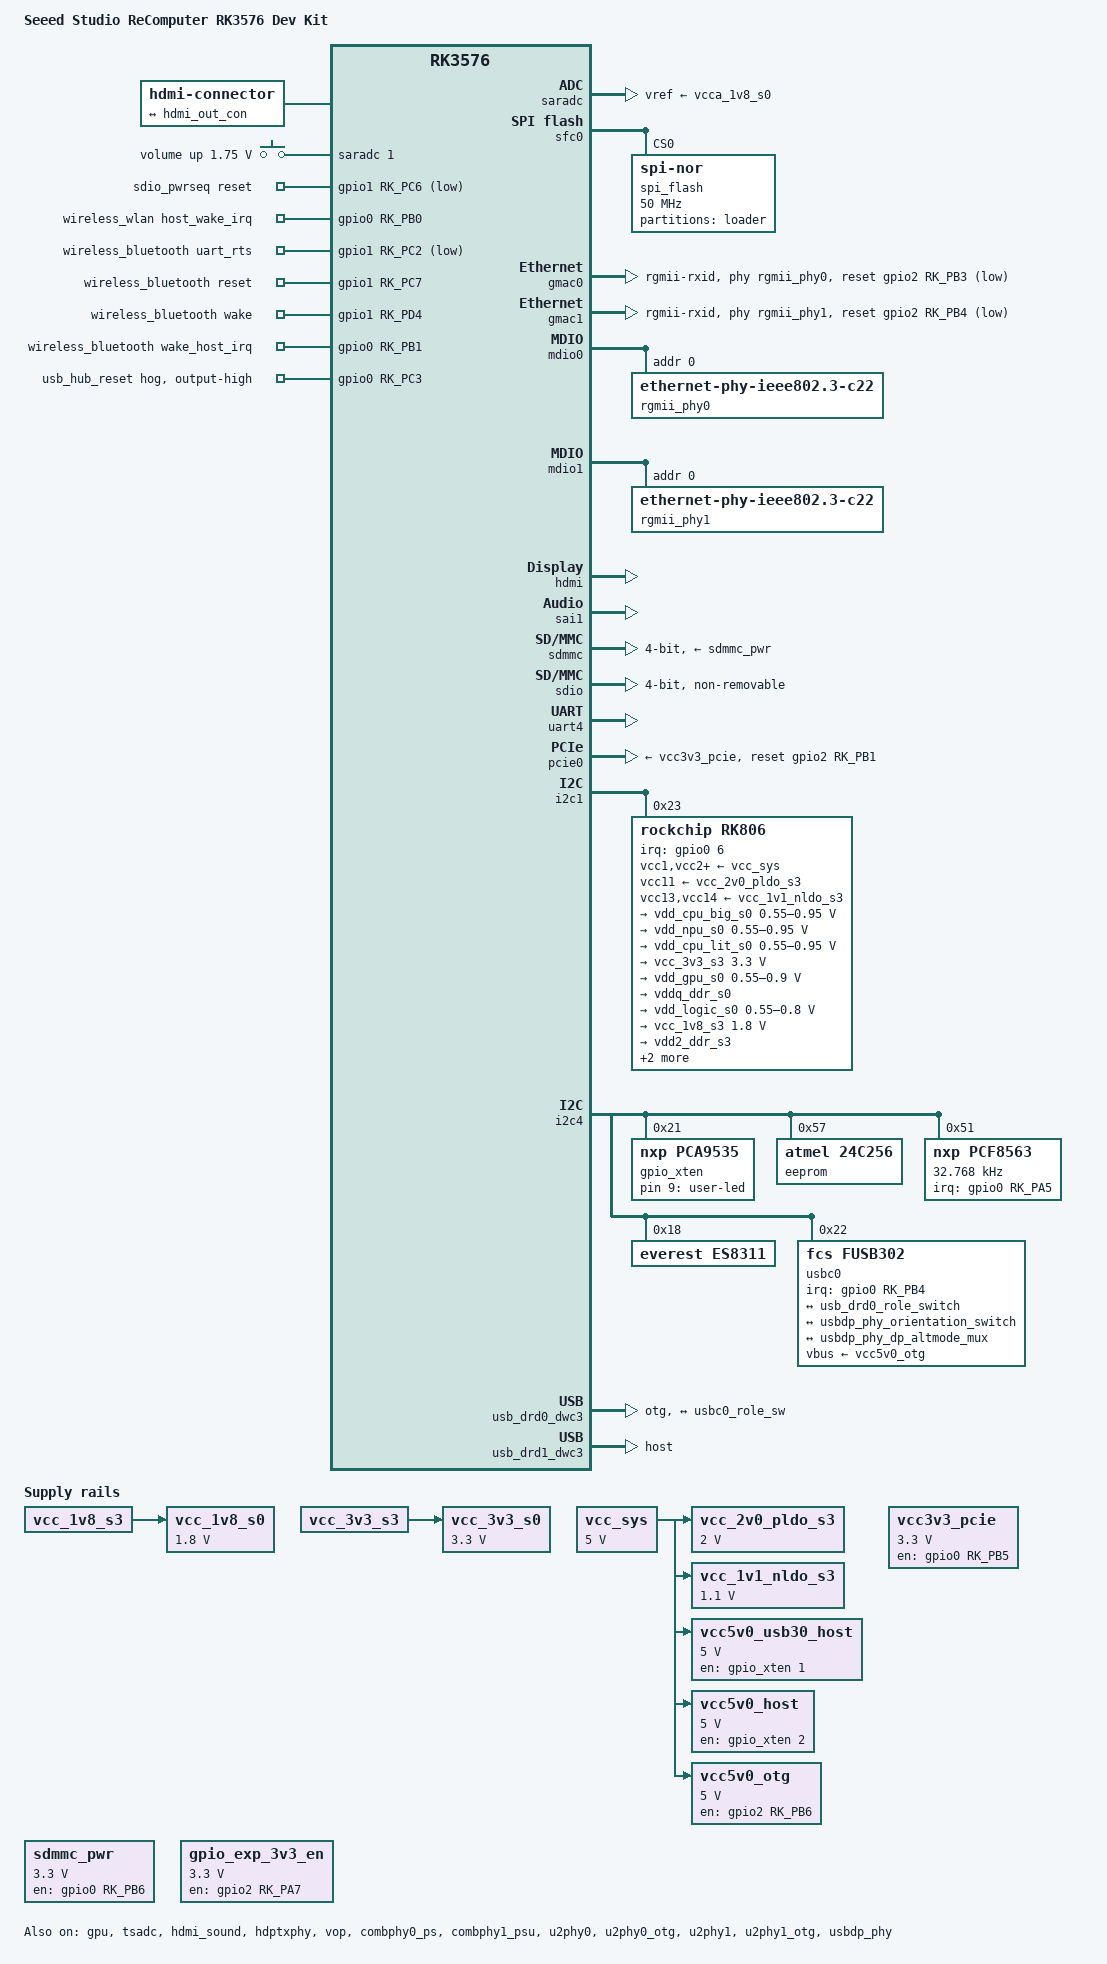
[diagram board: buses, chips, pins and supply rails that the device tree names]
// SPDX-License-Identifier: (GPL-2.0+ OR MIT)
/*
 * Copyright (c) 2026
 *
 * Ported from the 6.1 BSP device tree for the Seeed Studio ReComputer
 * RK3576 Dev Kit onto the 6.18 upstream-style rk3576.dtsi.
 *
 * BSP-only blocks without matching 6.18 nodes are intentionally omitted:
 * - camera media graph endpoints
 * - PWM fan control (this tree exposes the pinmux but not the PWM controller)
 * - BSP-only DP audio/video routing nodes
 */

/dts-v1/;

#include <dt-bindings/gpio/gpio.h>
#include <dt-bindings/input/input.h>
#include <dt-bindings/pinctrl/rockchip.h>
#include <dt-bindings/soc/rockchip,vop2.h>
#include <dt-bindings/usb/pd.h>
#include "rk3576.dtsi"
#include "recomputer-rk3576-devkit-cam.dtsi"

/ {
	model = "Seeed Studio ReComputer RK3576 Dev Kit";
	compatible = "seeed,recomputer-rk3576-devkit", "rockchip,rk3576";

	aliases {
		ethernet0 = &gmac0;
		ethernet1 = &gmac1;
		mmc0 = &sdhci;
		mmc1 = &sdmmc;
		mmc2 = &sdio;
	};

	chosen {
		stdout-path = "serial0:1500000n8";
	};

	hdmi-con {
		compatible = "hdmi-connector";
		type = "a";

		port {
			hdmi_con_in: endpoint {
				remote-endpoint = <&hdmi_out_con>;
			};
		};
	};

	adc-keys {
		compatible = "adc-keys";
		io-channels = <&saradc 1>;
		io-channel-names = "buttons";
		keyup-threshold-microvolt = <1800000>;
		poll-interval = <100>;
		status = "okay";

		volumeup-key {
			linux,code = <KEY_VOLUMEUP>;
			label = "volume up";
			press-threshold-microvolt = <1750000>;
		};
	};

	vcc_sys: regulator-vcc5v0-sys {
		compatible = "regulator-fixed";
		regulator-name = "vcc_sys";
		regulator-always-on;
		regulator-boot-on;
		regulator-min-microvolt = <5000000>;
		regulator-max-microvolt = <5000000>;
	};

	vcc_2v0_pldo_s3: regulator-vcc-2v0-pldo-s3 {
		compatible = "regulator-fixed";
		regulator-name = "vcc_2v0_pldo_s3";
		regulator-boot-on;
		regulator-always-on;
		regulator-min-microvolt = <2000000>;
		regulator-max-microvolt = <2000000>;
		vin-supply = <&vcc_sys>;
	};

	vcc_1v1_nldo_s3: regulator-vcc-1v1-nldo-s3 {
		compatible = "regulator-fixed";
		regulator-name = "vcc_1v1_nldo_s3";
		regulator-boot-on;
		regulator-always-on;
		regulator-min-microvolt = <1100000>;
		regulator-max-microvolt = <1100000>;
		vin-supply = <&vcc_sys>;
	};

	vcc_1v8_s0: regulator-vcc-1v8-s0 {
		compatible = "regulator-fixed";
		regulator-name = "vcc_1v8_s0";
		regulator-boot-on;
		regulator-always-on;
		regulator-min-microvolt = <1800000>;
		regulator-max-microvolt = <1800000>;
		vin-supply = <&vcc_1v8_s3>;
	};

	vcc_3v3_s0: regulator-vcc-3v3-s0 {
		compatible = "regulator-fixed";
		regulator-name = "vcc_3v3_s0";
		regulator-boot-on;
		regulator-always-on;
		regulator-min-microvolt = <3300000>;
		regulator-max-microvolt = <3300000>;
		vin-supply = <&vcc_3v3_s3>;
	};

	vcc5v0_usb30_host: regulator-vcc5v0-usb30-host {
		compatible = "regulator-fixed";
		regulator-name = "vcc5v0_usb30_host";
		regulator-boot-on;
		regulator-always-on;
		regulator-min-microvolt = <5000000>;
		regulator-max-microvolt = <5000000>;
		enable-active-high;
		gpio = <&gpio_xten 1 GPIO_ACTIVE_HIGH>;
		vin-supply = <&vcc_sys>;
	};

	vcc5v0_host: regulator-vcc5v0-host {
		compatible = "regulator-fixed";
		regulator-name = "vcc5v0_host";
		regulator-boot-on;
		regulator-always-on;
		regulator-min-microvolt = <5000000>;
		regulator-max-microvolt = <5000000>;
		enable-active-high;
		gpio = <&gpio_xten 2 GPIO_ACTIVE_HIGH>;
		vin-supply = <&vcc_sys>;
	};

	vcc5v0_otg: regulator-vcc5v0-otg {
		compatible = "regulator-fixed";
		regulator-name = "vcc5v0_otg";
		regulator-min-microvolt = <5000000>;
		regulator-max-microvolt = <5000000>;
		enable-active-high;
		gpio = <&gpio2 RK_PB6 GPIO_ACTIVE_HIGH>;
		vin-supply = <&vcc_sys>;
		pinctrl-names = "default";
		pinctrl-0 = <&vcc5v0_otg_en>;
	};

	vcc3v3_pcie: regulator-vcc3v3-pcie {
		compatible = "regulator-fixed";
		regulator-name = "vcc3v3_pcie";
		regulator-min-microvolt = <3300000>;
		regulator-max-microvolt = <3300000>;
		enable-active-high;
		regulator-boot-on;
		regulator-always-on;
		gpios = <&gpio0 RK_PB5 GPIO_ACTIVE_HIGH>;
		startup-delay-us = <5000>;
		pinctrl-names = "default";
		pinctrl-0 = <&pcie_pwr_en>;
	};

	sdmmc_pwr: regulator-sdmmc-pwr {
		compatible = "regulator-fixed";
		regulator-name = "sdmmc_pwr";
		regulator-min-microvolt = <3300000>;
		regulator-max-microvolt = <3300000>;
		enable-active-high;
		regulator-boot-on;
		regulator-always-on;
		gpios = <&gpio0 RK_PB6 GPIO_ACTIVE_HIGH>;
		pinctrl-names = "default";
		pinctrl-0 = <&sdmmc_pwr_en>;
	};

	gpio_exp_3v3_en: regulator-exp-3v3-en {
		compatible = "regulator-fixed";
		regulator-name = "exp_3v3_en";
		regulator-min-microvolt = <3300000>;
		regulator-max-microvolt = <3300000>;
		regulator-always-on;
		regulator-boot-on;
		enable-active-high;
		gpios = <&gpio2 RK_PA7 GPIO_ACTIVE_HIGH>;
		pinctrl-names = "default";
		pinctrl-0 = <&vsys_3v3_exp_en>;
	};

	sdio_pwrseq: sdio-pwrseq {
		compatible = "mmc-pwrseq-simple";
		pinctrl-names = "default";
		pinctrl-0 = <&wifi_poweren_gpio>;
		post-power-on-delay-ms = <200>;
		reset-gpios = <&gpio1 RK_PC6 GPIO_ACTIVE_LOW>;
	};

	wireless_wlan: wireless-wlan {
		compatible = "wlan-platdata";
		wifi_chip_type = "fcs960k";
		clocks = <&pcf8563>;
		clock-names = "ext_clock";
		pinctrl-names = "default";
		pinctrl-0 = <&wifi_host_wake_irq>;
		WIFI,host_wake_irq = <&gpio0 RK_PB0 GPIO_ACTIVE_HIGH>;
	};

	wireless_bluetooth: wireless-bluetooth {
		compatible = "bluetooth-platdata";
		uart_rts_gpios = <&gpio1 RK_PC2 GPIO_ACTIVE_LOW>;
		pinctrl-names = "default", "rts_gpio";
		pinctrl-0 = <&uart4m1_rtsn>;
		pinctrl-1 = <&uart4_gpios>;
		BT,reset_gpio = <&gpio1 RK_PC7 GPIO_ACTIVE_HIGH>;
		BT,wake_gpio = <&gpio1 RK_PD4 GPIO_ACTIVE_HIGH>;
		BT,wake_host_irq = <&gpio0 RK_PB1 GPIO_ACTIVE_HIGH>;
		status = "okay";
	};

	leds {
		compatible = "gpio-leds";

		user-led {
			gpios = <&gpio_xten 9 GPIO_ACTIVE_HIGH>;
			linux,default-trigger = "heartbeat";
		};
	};
};

&cpu_b0 {
	cpu-supply = <&vdd_cpu_big_s0>;
};

&cpu_b1 {
	cpu-supply = <&vdd_cpu_big_s0>;
};

&cpu_b2 {
	cpu-supply = <&vdd_cpu_big_s0>;
};

&cpu_b3 {
	cpu-supply = <&vdd_cpu_big_s0>;
};

&cpu_l0 {
	cpu-supply = <&vdd_cpu_lit_s0>;
};

&cpu_l1 {
	cpu-supply = <&vdd_cpu_lit_s0>;
};

&cpu_l2 {
	cpu-supply = <&vdd_cpu_lit_s0>;
};

&cpu_l3 {
	cpu-supply = <&vdd_cpu_lit_s0>;
};

&gpu {
	mali-supply = <&vdd_gpu_s0>;
	status = "okay";
};

&saradc {
	status = "okay";
	vref-supply = <&vcca_1v8_s0>;
};

&tsadc {
	status = "okay";
};

&sfc0 {
	status = "okay";
	#address-cells = <1>;
	#size-cells = <0>;

	spi_flash: flash@0 {
		compatible = "jedec,spi-nor";
		reg = <0x0>;
		spi-max-frequency = <50000000>;
		spi-tx-bus-width = <1>;
		spi-rx-bus-width = <4>;
		status = "okay";

		partitions {
			compatible = "fixed-partitions";
			#address-cells = <1>;
			#size-cells = <1>;

			loader@0 {
				label = "loader";
				reg = <0x0 0x1000000>;
			};
		};
	};
};

&gmac0 {
	clock_in_out = "output";
	phy-mode = "rgmii-rxid";
	phy-handle = <&rgmii_phy0>;
	pinctrl-names = "default";
	pinctrl-0 = <&eth0m0_miim
		     &eth0m0_tx_bus2
		     &eth0m0_rx_bus2
		     &eth0m0_rgmii_clk
		     &eth0m0_rgmii_bus>;
	snps,reset-gpio = <&gpio2 RK_PB3 GPIO_ACTIVE_LOW>;
	snps,reset-active-low;
	snps,reset-delays-us = <0 20000 100000>;
	tx_delay = <0x20>;
	status = "okay";
};

&gmac1 {
	clock_in_out = "output";
	phy-mode = "rgmii-rxid";
	phy-handle = <&rgmii_phy1>;
	pinctrl-names = "default";
	pinctrl-0 = <&eth1m0_miim
		     &eth1m0_tx_bus2
		     &eth1m0_rx_bus2
		     &eth1m0_rgmii_clk
		     &eth1m0_rgmii_bus>;
	snps,reset-gpio = <&gpio2 RK_PB4 GPIO_ACTIVE_LOW>;
	snps,reset-active-low;
	snps,reset-delays-us = <0 20000 100000>;
	tx_delay = <0x1a>;
	status = "okay";
};

&mdio0 {
	rgmii_phy0: ethernet-phy@0 {
		compatible = "ethernet-phy-ieee802.3-c22";
		reg = <0x0>;
		realtek,clkout-disable;
	};
};

&mdio1 {
	rgmii_phy1: ethernet-phy@0 {
		compatible = "ethernet-phy-ieee802.3-c22";
		reg = <0x0>;
		realtek,clkout-disable;
	};
};

&hdmi {
	status = "okay";
};

&hdmi_in {
	hdmi_in_vp0: endpoint {
		remote-endpoint = <&vp0_out_hdmi>;
	};
};

&hdmi_out {
	hdmi_out_con: endpoint {
		remote-endpoint = <&hdmi_con_in>;
	};
};

&hdmi_sound {
	status = "okay";
};

&hdptxphy {
	status = "okay";
};

&vop {
	status = "okay";
	vop-supply = <&vdd_logic_s0>;
};

&vop_mmu {
	status = "okay";
};

&vp0 {
	vp0_out_hdmi: endpoint@ROCKCHIP_VOP2_EP_HDMI0 {
		reg = <ROCKCHIP_VOP2_EP_HDMI0>;
		remote-endpoint = <&hdmi_in_vp0>;
	};
};

&display_subsystem {
	clocks = <&hdptxphy>;
	clock-names = "hdmi0_phy_pll";
};

&sai1 {
	status = "okay";
	rockchip,sai-rx-route = <0 1 2 3>;
	rockchip,sai-tx-route = <2 1 0 3>;
	pinctrl-names = "default";
	pinctrl-0 = <&sai1m0_lrck
		     &sai1m0_sclk
		     &sai1m0_sdi0
		     &sai1m0_sdo2>;
};

&sdhci {
	bus-width = <8>;
	no-sdio;
	no-sd;
	non-removable;
	max-frequency = <100000000>;
	mmc-hs400-1_8v;
	mmc-hs400-enhanced-strobe;
	status = "disabled";
};

&sdmmc {
	max-frequency = <100000000>;
	pinctrl-names = "default";
	pinctrl-0 = <&sdmmc0_clk &sdmmc0_cmd &sdmmc0_det &sdmmc0_bus4>;
	no-sdio;
	no-mmc;
	bus-width = <4>;
	cap-mmc-highspeed;
	cap-sd-highspeed;
	disable-wp;
	sd-uhs-sdr104;
	vqmmc-supply = <&vccio_sd_s0>;
	vmmc-supply = <&sdmmc_pwr>;
	status = "okay";
};

&sdio {
	max-frequency = <100000000>;
	no-sd;
	no-mmc;
	bus-width = <4>;
	disable-wp;
	cap-sd-highspeed;
	cap-sdio-irq;
	keep-power-in-suspend;
	mmc-pwrseq = <&sdio_pwrseq>;
	non-removable;
	pinctrl-names = "default";
	pinctrl-0 = <&sdmmc1m0_bus4 &sdmmc1m0_clk &sdmmc1m0_cmd>;
	sd-uhs-sdr50;
	sd-uhs-sdr104;
	status = "okay";
};

&uart4 {
	status = "okay";
	pinctrl-names = "default";
	pinctrl-0 = <&uart4m1_xfer &uart4m1_ctsn>;
};

&combphy0_ps {
	status = "okay";
};

&combphy1_psu {
	status = "okay";
};

&pcie0 {
	reset-gpios = <&gpio2 RK_PB1 GPIO_ACTIVE_HIGH>;
	rockchip,skip-scan-in-resume;
	vpcie3v3-supply = <&vcc3v3_pcie>;
	status = "okay";
};

&i2c1 {
	status = "okay";

	rk806: pmic@23 {
		compatible = "rockchip,rk806";
		reg = <0x23>;
		interrupt-parent = <&gpio0>;
		interrupts = <6 IRQ_TYPE_LEVEL_LOW>;
		gpio-controller;
		#gpio-cells = <2>;
		pinctrl-names = "default";
		pinctrl-0 = <&pmic_pins>, <&rk806_dvs1_null>,
			    <&rk806_dvs2_null>, <&rk806_dvs3_null>;
		system-power-controller;

		vcc1-supply = <&vcc_sys>;
		vcc2-supply = <&vcc_sys>;
		vcc3-supply = <&vcc_sys>;
		vcc4-supply = <&vcc_sys>;
		vcc5-supply = <&vcc_sys>;
		vcc6-supply = <&vcc_sys>;
		vcc7-supply = <&vcc_sys>;
		vcc8-supply = <&vcc_sys>;
		vcc9-supply = <&vcc_sys>;
		vcc10-supply = <&vcc_sys>;
		vcc11-supply = <&vcc_2v0_pldo_s3>;
		vcc12-supply = <&vcc_sys>;
		vcc13-supply = <&vcc_1v1_nldo_s3>;
		vcc14-supply = <&vcc_1v1_nldo_s3>;
		vcca-supply = <&vcc_sys>;

		rk806_dvs1_null: dvs1-null-pins {
			pins = "gpio_pwrctrl1";
			function = "pin_fun0";
		};

		rk806_dvs2_null: dvs2-null-pins {
			pins = "gpio_pwrctrl2";
			function = "pin_fun0";
		};

		rk806_dvs3_null: dvs3-null-pins {
			pins = "gpio_pwrctrl3";
			function = "pin_fun0";
		};

		rk806_dvs1_slp: dvs1-slp-pins {
			pins = "gpio_pwrctrl1";
			function = "pin_fun1";
		};

		rk806_dvs1_pwrdn: dvs1-pwrdn-pins {
			pins = "gpio_pwrctrl1";
			function = "pin_fun2";
		};

		rk806_dvs1_rst: dvs1-rst-pins {
			pins = "gpio_pwrctrl1";
			function = "pin_fun3";
		};

		rk806_dvs2_slp: dvs2-slp-pins {
			pins = "gpio_pwrctrl2";
			function = "pin_fun1";
		};

		rk806_dvs2_pwrdn: dvs2-pwrdn-pins {
			pins = "gpio_pwrctrl2";
			function = "pin_fun2";
		};

		rk806_dvs2_rst: dvs2-rst-pins {
			pins = "gpio_pwrctrl2";
			function = "pin_fun3";
		};

		rk806_dvs2_dvs: dvs2-dvs-pins {
			pins = "gpio_pwrctrl2";
			function = "pin_fun4";
		};

		rk806_dvs2_gpio: dvs2-gpio-pins {
			pins = "gpio_pwrctrl2";
			function = "pin_fun5";
		};

		rk806_dvs3_slp: dvs3-slp-pins {
			pins = "gpio_pwrctrl3";
			function = "pin_fun1";
		};

		rk806_dvs3_pwrdn: dvs3-pwrdn-pins {
			pins = "gpio_pwrctrl3";
			function = "pin_fun2";
		};

		rk806_dvs3_rst: dvs3-rst-pins {
			pins = "gpio_pwrctrl3";
			function = "pin_fun3";
		};

		rk806_dvs3_dvs: dvs3-dvs-pins {
			pins = "gpio_pwrctrl3";
			function = "pin_fun4";
		};

		rk806_dvs3_gpio: dvs3-gpio-pins {
			pins = "gpio_pwrctrl3";
			function = "pin_fun5";
		};

		regulators {
			vdd_cpu_big_s0: dcdc-reg1 {
				regulator-always-on;
				regulator-boot-on;
				regulator-min-microvolt = <550000>;
				regulator-max-microvolt = <950000>;
				regulator-ramp-delay = <12500>;
				regulator-name = "vdd_cpu_big_s0";
				regulator-enable-ramp-delay = <400>;

				regulator-state-mem {
					regulator-off-in-suspend;
				};
			};

			vdd_npu_s0: dcdc-reg2 {
				regulator-boot-on;
				regulator-min-microvolt = <550000>;
				regulator-max-microvolt = <950000>;
				regulator-ramp-delay = <12500>;
				regulator-name = "vdd_npu_s0";
				regulator-enable-ramp-delay = <400>;

				regulator-state-mem {
					regulator-off-in-suspend;
				};
			};

			vdd_cpu_lit_s0: dcdc-reg3 {
				regulator-always-on;
				regulator-boot-on;
				regulator-min-microvolt = <550000>;
				regulator-max-microvolt = <950000>;
				regulator-ramp-delay = <12500>;
				regulator-name = "vdd_cpu_lit_s0";

				regulator-state-mem {
					regulator-off-in-suspend;
					regulator-suspend-microvolt = <750000>;
				};
			};

			vcc_3v3_s3: dcdc-reg4 {
				regulator-always-on;
				regulator-boot-on;
				regulator-min-microvolt = <3300000>;
				regulator-max-microvolt = <3300000>;
				regulator-name = "vcc_3v3_s3";

				regulator-state-mem {
					regulator-on-in-suspend;
					regulator-suspend-microvolt = <3300000>;
				};
			};

			vdd_gpu_s0: dcdc-reg5 {
				regulator-boot-on;
				regulator-min-microvolt = <550000>;
				regulator-max-microvolt = <900000>;
				regulator-ramp-delay = <12500>;
				regulator-name = "vdd_gpu_s0";
				regulator-enable-ramp-delay = <400>;

				regulator-state-mem {
					regulator-off-in-suspend;
					regulator-suspend-microvolt = <850000>;
				};
			};

			vddq_ddr_s0: dcdc-reg6 {
				regulator-always-on;
				regulator-boot-on;
				regulator-name = "vddq_ddr_s0";

				regulator-state-mem {
					regulator-off-in-suspend;
				};
			};

			vdd_logic_s0: dcdc-reg7 {
				regulator-always-on;
				regulator-boot-on;
				regulator-min-microvolt = <550000>;
				regulator-max-microvolt = <800000>;
				regulator-name = "vdd_logic_s0";

				regulator-state-mem {
					regulator-off-in-suspend;
				};
			};

			vcc_1v8_s3: dcdc-reg8 {
				regulator-always-on;
				regulator-boot-on;
				regulator-min-microvolt = <1800000>;
				regulator-max-microvolt = <1800000>;
				regulator-name = "vcc_1v8_s3";

				regulator-state-mem {
					regulator-on-in-suspend;
					regulator-suspend-microvolt = <1800000>;
				};
			};

			vdd2_ddr_s3: dcdc-reg9 {
				regulator-always-on;
				regulator-boot-on;
				regulator-name = "vdd2_ddr_s3";

				regulator-state-mem {
					regulator-on-in-suspend;
				};
			};

			vdd_ddr_s0: dcdc-reg10 {
				regulator-always-on;
				regulator-boot-on;
				regulator-min-microvolt = <550000>;
				regulator-max-microvolt = <1200000>;
				regulator-name = "vdd_ddr_s0";

				regulator-state-mem {
					regulator-off-in-suspend;
				};
			};

			vcca_1v8_s0: pldo-reg1 {
				regulator-always-on;
				regulator-boot-on;
				regulator-min-microvolt = <1800000>;
				regulator-max-microvolt = <1800000>;
				regulator-name = "vcca_1v8_s0";

				regulator-state-mem {
					regulator-off-in-suspend;
				};
			};

			vccio_sd_s0: pldo-reg5 {
				regulator-always-on;
				regulator-boot-on;
				regulator-min-microvolt = <1800000>;
				regulator-max-microvolt = <3300000>;
				regulator-name = "vccio_sd_s0";

				regulator-state-mem {
					regulator-off-in-suspend;
				};
			};
		};
	};
};

&i2c4 {
	status = "okay";
	pinctrl-0 = <&i2c4m3_xfer>;

	gpio_xten: gpio@21 {
		compatible = "nxp,pca9535";
		reg = <0x21>;
		gpio-controller;
		#gpio-cells = <2>;
		gpio-line-names =
			"MIPI_DPHY_CSI0_IO1", "USB_USB30_PWREN_H",
			"USB_HOST_PWREN_H", "BRD_ID_WP",
			"LTE_RESET", "P05",
			"P06", "LoRaWan_sx1262_CS",
			"USER_LED_R", "USER_LED_B",
			"USER_LED_G", "P13",
			"P14", "P15",
			"P16", "P17";
	};

	eeprom: eeprom@57 {
		compatible = "atmel,24c256";
		reg = <0x57>;
		pagesize = <16>;
		status = "okay";
	};

	pcf8563: rtc@51 {
		compatible = "nxp,pcf8563";
		reg = <0x51>;
		interrupt-parent = <&gpio0>;
		interrupts = <RK_PA5 IRQ_TYPE_EDGE_FALLING>;
		pinctrl-names = "default";
		pinctrl-0 = <&pcf8563_int>;
		#clock-cells = <0>;
		clock-frequency = <32768>;
		clock-output-names = "xin32k";
		status = "okay";
	};

	es8311: audio-codec@18 {
		compatible = "everest,es8311";
		reg = <0x18>;
		#sound-dai-cells = <0>;
		clocks = <&cru CLK_SAI1_MCLKOUT_TO_IO>;
		clock-names = "mclk";
		assigned-clocks = <&cru CLK_SAI1_MCLKOUT_TO_IO>;
		assigned-clock-rates = <12288000>;
		pinctrl-names = "default";
		pinctrl-0 = <&sai1m0_mclk>;
		status = "okay";
	};

	usbc0: fusb302@22 {
		compatible = "fcs,fusb302";
		reg = <0x22>;
		interrupt-parent = <&gpio0>;
		interrupts = <RK_PB4 IRQ_TYPE_LEVEL_LOW>;
		pinctrl-names = "default";
		pinctrl-0 = <&aw35615_int>;
		vbus-supply = <&vcc5v0_otg>;
		status = "okay";

		ports {
			port {
				usbc0_role_sw: endpoint {
					remote-endpoint = <&usb_drd0_role_switch>;
				};
			};
		};

		usb_con: connector {
			compatible = "usb-c-connector";
			label = "USB-C";
			data-role = "dual";
			power-role = "dual";
			try-power-role = "sink";
			op-sink-microwatt = <1000000>;
			sink-pdos = <PDO_FIXED(5000, 1000, PDO_FIXED_USB_COMM)>;
			source-pdos = <PDO_FIXED(5000, 3000, PDO_FIXED_USB_COMM)>;

			altmodes {
				#address-cells = <1>;
				#size-cells = <0>;

				altmode@0 {
					reg = <0>;
					svid = <0xff01>;
					vdo = <0xffffffff>;
				};
			};

			ports {
				#address-cells = <1>;
				#size-cells = <0>;

				port@0 {
					reg = <0>;
					usbc0_orien_sw: endpoint {
						remote-endpoint = <&usbdp_phy_orientation_switch>;
					};
				};

				port@1 {
					reg = <1>;
					dp_altmode_mux: endpoint {
						remote-endpoint = <&usbdp_phy_dp_altmode_mux>;
					};
				};
			};
		};
	};
};

&u2phy0 {
	status = "okay";
};

&u2phy0_otg {
	rockchip,typec-vbus-det;
	status = "okay";
};

&u2phy1 {
	status = "okay";
};

&u2phy1_otg {
	phy-supply = <&vcc5v0_usb30_host>;
	status = "okay";
};

&usbdp_phy {
	orientation-switch;
	svid = <0xff01>;
	sbu1-dc-gpios = <&gpio4 RK_PC4 GPIO_ACTIVE_HIGH>;
	sbu2-dc-gpios = <&gpio4 RK_PC5 GPIO_ACTIVE_HIGH>;
	status = "okay";

	port {
		#address-cells = <1>;
		#size-cells = <0>;

		usbdp_phy_orientation_switch: endpoint@0 {
			reg = <0>;
			remote-endpoint = <&usbc0_orien_sw>;
		};

		usbdp_phy_dp_altmode_mux: endpoint@1 {
			reg = <1>;
			remote-endpoint = <&dp_altmode_mux>;
		};
	};
};

&usb_drd0_dwc3 {
	dr_mode = "otg";
	usb-role-switch;
	status = "okay";
	snps,parkmode-disable-hs-quirk;
	snps,parkmode-disable-ss-quirk;
	snps,dis_u3_susphy_quirk;
	snps,dis_u2_susphy_quirk;

	port {
		usb_drd0_role_switch: endpoint {
			remote-endpoint = <&usbc0_role_sw>;
		};
	};
};

&usb_drd1_dwc3 {
	dr_mode = "host";
	status = "okay";
};

&littlecore_thermal {
	sustainable-power = <5000>;
};

&pinctrl {
	headphone {
		hp_det: hp-det {
			rockchip,pins = <2 RK_PB7 RK_FUNC_GPIO &pcfg_pull_up>;
		};

		hp_con: hp-con {
			rockchip,pins = <2 RK_PA6 RK_FUNC_GPIO &pcfg_pull_up>;
		};
	};

	sdmmc {
		sdmmc_pwr_en: sdmmc-pwr-en {
			rockchip,pins = <0 RK_PB6 RK_FUNC_GPIO &pcfg_pull_none>;
		};
	};

	gpio-exp-en {
		vsys_3v3_exp_en: vsys-3v3-exp-en {
			rockchip,pins = <2 RK_PA7 RK_FUNC_GPIO &pcfg_pull_none>;
		};
	};

	usb {
		aw35615_int: aw35615-int {
			rockchip,pins = <0 RK_PB4 RK_FUNC_GPIO &pcfg_pull_up>;
		};

		vcc5v0_otg_en: vcc5v0-otg-en {
			rockchip,pins = <2 RK_PB6 RK_FUNC_GPIO &pcfg_pull_up>;
		};
	};

	pcf8563 {
		pcf8563_int: pcf8563-int {
			rockchip,pins = <0 RK_PA5 RK_FUNC_GPIO &pcfg_pull_up>;
		};
	};

	pcie {
		pcie_pwr_en: pcie-pwr-en {
			rockchip,pins = <0 RK_PB5 RK_FUNC_GPIO &pcfg_pull_none>;
		};
	};

	wifi {
		wifi_host_wake_irq: wifi-host-wake-irq {
			rockchip,pins = <0 RK_PB0 RK_FUNC_GPIO &pcfg_pull_down>;
		};

		wifi_poweren_gpio: wifi-poweren-gpio {
			rockchip,pins = <1 RK_PC6 RK_FUNC_GPIO &pcfg_pull_none>;
		};
	};

	wireless-bluetooth {
		uart4_gpios: uart4-gpios {
			rockchip,pins = <1 RK_PC2 RK_FUNC_GPIO &pcfg_pull_none>;
		};
	};
};

&gpio0 {
	gpio-line-names =
		"", "", "", "",
		"", "", "", "",
		"", "", "", "",
		"", "", "", "",
		"", "", "", "",
		"", "", "", "",
		"", "", "", "",
		"PIN_8", "PIN_10", "", "";

	usb_hub_reset_hog: usb-hub-reset-hog {
		gpio-hog;
		gpios = <RK_PC3 GPIO_ACTIVE_HIGH>;
		output-high;
		line-name = "usb_hub_reset";
	};
};

&gpio1 {
	gpio-line-names =
		"", "", "", "",
		"", "", "", "",
		"", "", "", "",
		"PIN_23", "PIN_19", "PIN_21", "PIN_24",
		"PIN_26", "PIN_31", "PIN_33", "PIN_7",
		"PIN_11", "PIN_15", "PIN_5", "PIN_3",
		"PIN_40", "PIN_12", "PIN_35", "PIN_38",
		"PIN_36", "PIN_32", "", "";
};

&gpio2 {
	gpio-line-names =
		"", "", "", "",
		"", "", "", "",
		"", "", "", "",
		"", "", "PIN_16", "PIN_18",
		"PIN_13", "", "", "",
		"", "", "", "",
		"", "", "", "",
		"", "", "", "PIN_22";
};

&gpio3 {
	gpio-line-names =
		"", "", "PIN_29", "PIN_37",
		"", "", "", "",
		"", "", "", "",
		"", "", "", "",
		"", "", "", "",
		"", "", "", "",
		"", "", "", "",
		"", "", "", "";
};

&gpio4 {
	gpio-line-names =
		"", "", "", "",
		"", "", "", "",
		"", "", "", "",
		"", "", "", "",
		"", "", "", "",
		"", "", "PIN_28", "PIN_27",
		"", "", "", "",
		"", "", "", "";
};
